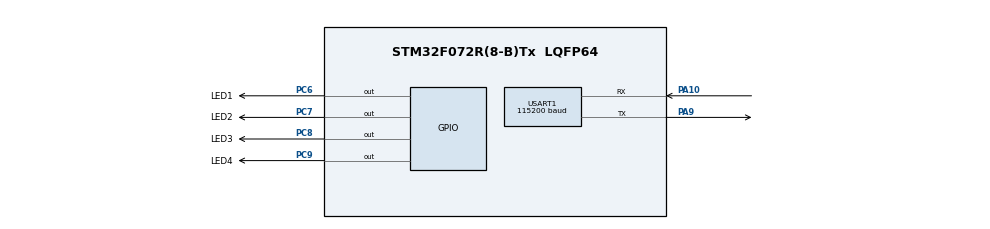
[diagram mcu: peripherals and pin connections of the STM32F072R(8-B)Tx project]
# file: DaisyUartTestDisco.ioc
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Mcu.Family=STM32F0
Mcu.Name=STM32F072R(8-B)Tx
Mcu.Package=LQFP64
NVIC.USART1_IRQn=true\:0\:0\:false\:false\:true\:true\:true\:true
PA10.Mode=Asynchronous
PA10.Signal=USART1_RX
PA9.Mode=Asynchronous
PA9.Signal=USART1_TX
PC6.GPIO_Label=LED1
PC6.GPIO_PuPd=GPIO_PULLDOWN
PC6.Signal=GPIO_Output
PC7.GPIO_Label=LED2
PC7.GPIO_PuPd=GPIO_PULLDOWN
PC7.Signal=GPIO_Output
PC8.GPIO_Label=LED3
PC8.GPIO_PuPd=GPIO_PULLDOWN
PC8.Signal=GPIO_Output
PC9.GPIO_Label=LED4
PC9.GPIO_PuPd=GPIO_PULLDOWN
PC9.Signal=GPIO_Output
ProjectManager.HeapSize=0x200
ProjectManager.StackSize=0x400
ProjectManager.TargetToolchain=Makefile
USART1.BaudRate=115200
USART1.VirtualMode-Asynchronous=VM_ASYNC
board=custom

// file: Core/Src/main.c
/* USER CODE BEGIN Header */
/**
  ******************************************************************************
  * @file           : main.c
  * @brief          : Main program body
  ******************************************************************************
  * @attention
  *
  * Copyright (c) 2023 STMicroelectronics.
  * All rights reserved.
  *
  * This software is licensed under terms that can be found in the LICENSE file
  * in the root directory of this software component.
  * If no LICENSE file comes with this software, it is provided AS-IS.
  *
  ******************************************************************************
  */
/* USER CODE END Header */
#include "main.h"

/* USER CODE BEGIN Includes */
#include <stdlib.h>

/* USER CODE END Includes */

/* USER CODE BEGIN PD */
typedef uint16_t IbcRawHeader;

typedef struct {
    uint8_t attn;
    uint8_t ttl;
    uint8_t len;
    uint8_t id;
    uint8_t data[];
} IbcPacket;

#define IBCP_ATTN_IDX 4
#define IBCP_TTL_IDX 0
#define IBCP_LEN_IDX 13
#define IBCP_ID_IDX 8
#define IBCP_ATTN(packet) ((*packet & 0x00F0) >> IBCP_ATTN_IDX)
#define IBCP_ATTN_THIS_DEVICE(packet) ((IBCP_ATTN(packet) >> THIS_DEV_ATTN_ID) & 0x1)
#define IBCP_TTL(packet) ((*packet & 0x0003) >> IBCP_TTL_IDX)
#define IBCP_LEN(packet) ((*packet & 0xE000) >> IBCP_LEN_IDX)
#define IBCP_ID(packet) ((*packet & 0x1F00) >> IBCP_ID_IDX)

#define IBCP_PKT(attn, ttl, len, id) (((attn & 0xF) << IBCP_ATTN_IDX) | ((ttl & 0x3) << IBCP_TTL_IDX) | ((len & 0x7) << IBCP_LEN_IDX) | ((id & 0x1F) << IBCP_ID_IDX))

//attn idx: 0-3
#define THIS_DEV_ATTN_ID 0
/* USER CODE END PD */

UART_HandleTypeDef huart1;

void SystemClock_Config(void);
static void MX_GPIO_Init(void);
static void MX_USART1_UART_Init(void);

/* USER CODE BEGIN 0 */

static uint8_t incoming_byte[2];
static uint8_t longbuf[100];
uint32_t count = 0;

IbcPacket* checkForPacket(uint8_t* buffer, uint32_t buf_len) {
    if (buf_len < 3 || buf_len - 2 < IBCP_LEN(buffer)) // -2 to account for header
        return NULL;

    IbcRawHeader* hp = (IbcRawHeader*)buffer;
    IbcPacket* newPacket = malloc(sizeof(IbcPacket) + IBCP_LEN(hp));
    newPacket->attn = IBCP_ATTN(hp);
    newPacket->ttl = IBCP_TTL(hp);
    newPacket->len = IBCP_LEN(hp);
    newPacket->id = IBCP_ID(hp);
    switch (newPacket->len) {
    case 1:
        newPacket->data[0] = buffer[2];
        break;
    case 2:
        newPacket->data[0] = buffer[3];
        newPacket->data[1] = buffer[2];
        break;
    case 3:
        newPacket->data[0] = buffer[4];
        newPacket->data[1] = buffer[3];
        newPacket->data[2] = buffer[2];
        break;
    case 4:
        newPacket->data[0] = buffer[5];
        newPacket->data[1] = buffer[4];
        newPacket->data[2] = buffer[3];
        newPacket->data[3] = buffer[2];
        break;
    }

    return newPacket;
}

void HAL_UART_TxCpltCallback(UART_HandleTypeDef* huart) {
    // HAL_GPIO_TogglePin(LED1_GPIO_Port, LED1_Pin);
}

void HAL_UART_RxCpltCallback(UART_HandleTypeDef* huart) {
    // HAL_GPIO_TogglePin(LED2_GPIO_Port, LED2_Pin);
    longbuf[count++] = *incoming_byte;
    IbcPacket* pkt = checkForPacket(longbuf, count);
    if (pkt != NULL) {

        if ((pkt->attn >> THIS_DEV_ATTN_ID) & 0x1) {
            // light up the red and blue LEDs based on the id of the packet
            if (pkt->id == 1) {
                HAL_GPIO_TogglePin(LED1_GPIO_Port, LED1_Pin);
            }
            else if (pkt->id == 2) {
                HAL_GPIO_TogglePin(LED2_GPIO_Port, LED2_Pin);
            }

            // light up the orange and green LEDs based on the content of the packet
            if (pkt->len == 1) {
                switch (*(pkt->data)) {
                case 1:
                    HAL_GPIO_TogglePin(LED3_GPIO_Port, LED3_Pin);
                    break;
                case 2:
                    HAL_GPIO_TogglePin(LED4_GPIO_Port, LED4_Pin);
                    break;
                }
            }
        }

        // if packet has hops left, forward it
        if (pkt->ttl > 1) {
            *longbuf -= (1 << IBCP_TTL_IDX);
            if (HAL_UART_GetState(&huart1) == HAL_UART_STATE_READY && HAL_UART_Transmit_IT(&huart1, longbuf, count) != HAL_OK) {
                HAL_GPIO_WritePin(LED4_GPIO_Port, LED4_Pin, GPIO_PIN_SET);
            }
        }

        // reset index into buffer
        count = 0;
    }
    HAL_UART_Receive_IT(&huart1, incoming_byte, 1);
}

/* USER CODE END 0 */

int main(void)
{

  /* MCU Configuration--------------------------------------------------------*/

  /* Reset of all peripherals, Initializes the Flash interface and the Systick. */
  HAL_Init();

  /* Configure the system clock */
  SystemClock_Config();

  /* Initialize all configured peripherals */
  MX_GPIO_Init();
  MX_USART1_UART_Init();
  /* USER CODE BEGIN 2 */
          // HAL_StatusTypeDef ret;
    HAL_StatusTypeDef ret = HAL_UART_RegisterCallback(&huart1, HAL_UART_TX_COMPLETE_CB_ID, &HAL_UART_TxCpltCallback);
    if (ret != HAL_OK) {
        HAL_GPIO_WritePin(LED4_GPIO_Port, LED4_Pin, GPIO_PIN_SET);
    }
    ret = HAL_UART_RegisterCallback(&huart1, HAL_UART_RX_COMPLETE_CB_ID, &HAL_UART_RxCpltCallback);
    NVIC_EnableIRQ(USART1_IRQn);
    if (ret != HAL_OK) {
        HAL_GPIO_WritePin(LED4_GPIO_Port, LED4_Pin, GPIO_PIN_SET);
    }

  /* USER CODE END 2 */

  /* Infinite loop */
  /* USER CODE BEGIN WHILE */
    HAL_UART_Receive_IT(&huart1, incoming_byte, 1);
    uint32_t lastTick = HAL_GetTick();
    while (1) {
        // HAL_UART_TxCpltCallback();
        if (HAL_GetTick() - lastTick >= 1000) {
            // char* data = "Hello World\n";
            // ret = HAL_UART_Transmit_IT(&huart1, /*pData*/ data, /*size*/ 12);
            if (ret != HAL_OK) {
                HAL_GPIO_WritePin(LED4_GPIO_Port, LED4_Pin, GPIO_PIN_SET);
            }
            // HAL_GPIO_TogglePin(LED1_GPIO_Port, LED1_Pin);
            lastTick = HAL_GetTick();
        }
        // ret = HAL_UART_Receive_IT(&huart1, buf, 12);
        // if (ret != HAL_OK) {
        //     HAL_GPIO_WritePin(LED4_GPIO_Port, LED4_Pin, GPIO_PIN_SET);
        // }
    /* USER CODE END WHILE */

    }
}

void SystemClock_Config(void)
{
  RCC_OscInitTypeDef RCC_OscInitStruct = {0};
  RCC_ClkInitTypeDef RCC_ClkInitStruct = {0};
  RCC_PeriphCLKInitTypeDef PeriphClkInit = {0};

  /** Initializes the RCC Oscillators according to the specified parameters
  * in the RCC_OscInitTypeDef structure.
  */
  RCC_OscInitStruct.OscillatorType = RCC_OSCILLATORTYPE_HSI;
  RCC_OscInitStruct.HSIState = RCC_HSI_ON;
  RCC_OscInitStruct.HSICalibrationValue = RCC_HSICALIBRATION_DEFAULT;
  RCC_OscInitStruct.PLL.PLLState = RCC_PLL_NONE;
  if (HAL_RCC_OscConfig(&RCC_OscInitStruct) != HAL_OK)
  {
    Error_Handler();
  }

  /** Initializes the CPU, AHB and APB buses clocks
  */
  RCC_ClkInitStruct.ClockType = RCC_CLOCKTYPE_HCLK|RCC_CLOCKTYPE_SYSCLK
                              |RCC_CLOCKTYPE_PCLK1;
  RCC_ClkInitStruct.SYSCLKSource = RCC_SYSCLKSOURCE_HSI;
  RCC_ClkInitStruct.AHBCLKDivider = RCC_SYSCLK_DIV1;
  RCC_ClkInitStruct.APB1CLKDivider = RCC_HCLK_DIV1;

  if (HAL_RCC_ClockConfig(&RCC_ClkInitStruct, FLASH_LATENCY_0) != HAL_OK)
  {
    Error_Handler();
  }
  PeriphClkInit.PeriphClockSelection = RCC_PERIPHCLK_USART1;
  PeriphClkInit.Usart1ClockSelection = RCC_USART1CLKSOURCE_PCLK1;
  if (HAL_RCCEx_PeriphCLKConfig(&PeriphClkInit) != HAL_OK)
  {
    Error_Handler();
  }
}

static void MX_USART1_UART_Init(void)
{

  huart1.Instance = USART1;
  huart1.Init.BaudRate = 115200;
  huart1.Init.WordLength = UART_WORDLENGTH_8B;
  huart1.Init.StopBits = UART_STOPBITS_1;
  huart1.Init.Parity = UART_PARITY_NONE;
  huart1.Init.Mode = UART_MODE_TX_RX;
  huart1.Init.HwFlowCtl = UART_HWCONTROL_NONE;
  huart1.Init.OverSampling = UART_OVERSAMPLING_16;
  huart1.Init.OneBitSampling = UART_ONE_BIT_SAMPLE_DISABLE;
  huart1.AdvancedInit.AdvFeatureInit = UART_ADVFEATURE_NO_INIT;
  if (HAL_UART_Init(&huart1) != HAL_OK)
  {
    Error_Handler();
  }

}

static void MX_GPIO_Init(void)
{
  GPIO_InitTypeDef GPIO_InitStruct = {0};

  /* GPIO Ports Clock Enable */
  __HAL_RCC_GPIOC_CLK_ENABLE();
  __HAL_RCC_GPIOA_CLK_ENABLE();

  /*Configure GPIO pin Output Level */
  HAL_GPIO_WritePin(GPIOC, LED1_Pin|LED2_Pin|LED3_Pin|LED4_Pin, GPIO_PIN_RESET);

  /*Configure GPIO pins : LED1_Pin LED2_Pin LED3_Pin LED4_Pin */
  GPIO_InitStruct.Pin = LED1_Pin|LED2_Pin|LED3_Pin|LED4_Pin;
  GPIO_InitStruct.Mode = GPIO_MODE_OUTPUT_PP;
  GPIO_InitStruct.Pull = GPIO_PULLDOWN;
  GPIO_InitStruct.Speed = GPIO_SPEED_FREQ_LOW;
  HAL_GPIO_Init(GPIOC, &GPIO_InitStruct);

}

void Error_Handler(void)
{
    __disable_irq();
    while (1)
    {
    }
}
